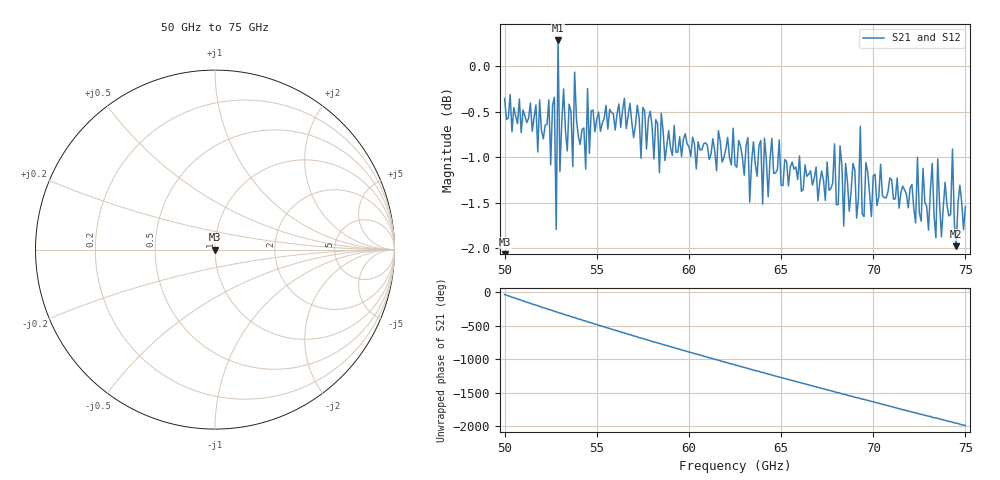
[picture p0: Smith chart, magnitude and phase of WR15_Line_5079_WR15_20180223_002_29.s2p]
# GHZ S RI R 50
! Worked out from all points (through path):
!   251 points, 50 GHz to 75 GHz, reference 50 ohm
!   highest |S21| = 0.28 dB at 52.9 GHz (marker M1); lowest = -2.0 dB at 74.5 GHz (marker M2)
!   lowest |S11| = - dB at 50 GHz (marker M3), VSWR 1.00, Z = 50 + j1.49e-15 ohm
!   |S11| at or under -10 dB: start of sweep to end of sweep
!   |S22| runs from - to - dB; largest |S21 - S12| = 2e-15
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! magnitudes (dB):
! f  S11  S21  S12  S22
! 50 GHz  -  -0.4  -0.4  -
! 52.4 GHz  -  -0.4  -0.4  -
! 52.5 GHz  -  -1.1  -1.1  -
! 52.7 GHz  -  -0.3  -0.3  -
! 52.8 GHz  -  -1.8  -1.8  -
! 52.9 GHz  -  0.3  0.3  -
! 53 GHz  -  -1.2  -1.2  -
! 53.2 GHz  -  -0.3  -0.3  -
! 54.2 GHz  -  -0.7  -0.7  -
! 58.4 GHz  -  -1.2  -1.2  -
! 58.5 GHz  -  -0.5  -0.5  -
! 62.5 GHz  -  -1.1  -1.1  -
! 66.7 GHz  -  -1.3  -1.3  -
! 70.9 GHz  -  -1.2  -1.2  -
! 73 GHz  -  -1.8  -1.8  -
! 73.2 GHz  -  -1.1  -1.1  -
! 73.4 GHz  -  -1.9  -1.9  -
! 73.5 GHz  -  -1.0  -1.0  -
! 73.7 GHz  -  -1.9  -1.9  -
! 74.3 GHz  -  -0.9  -0.9  -
! 74.5 GHz  -  -2.0  -2.0  -
! 75 GHz  -  -1.5  -1.5  -
